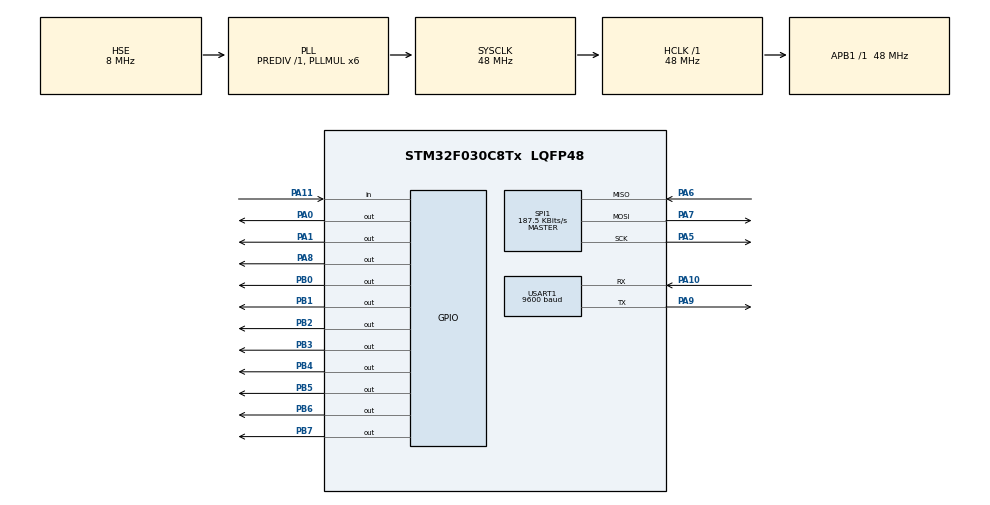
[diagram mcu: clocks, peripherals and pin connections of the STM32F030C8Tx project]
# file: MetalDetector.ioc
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Mcu.Family=STM32F0
Mcu.Name=STM32F030C8Tx
Mcu.Package=LQFP48
NVIC.USART1_IRQn=true\:0\:0\:false\:false\:true
PA0.Signal=GPIO_Output
PA1.Signal=GPIO_Output
PA10.Mode=Asynchronous
PA10.Signal=USART1_RX
PA11.Signal=GPIO_Input
PA5.Mode=Full_Duplex_Master
PA5.Signal=SPI1_SCK
PA6.Mode=Full_Duplex_Master
PA6.Signal=SPI1_MISO
PA7.Mode=Full_Duplex_Master
PA7.Signal=SPI1_MOSI
PA8.Signal=GPIO_Output
PA9.Mode=Asynchronous
PA9.Signal=USART1_TX
PB0.Signal=GPIO_Output
PB1.Signal=GPIO_Output
PB2.Signal=GPIO_Output
PB3.Signal=GPIO_Output
PB4.Signal=GPIO_Output
PB5.Signal=GPIO_Output
PB6.Signal=GPIO_Output
PB7.Signal=GPIO_Output
PF0-OSC_IN.Mode=HSE-External-Oscillator
PF0-OSC_IN.Signal=RCC_OSC_IN
PF1-OSC_OUT.Mode=HSE-External-Oscillator
PF1-OSC_OUT.Signal=RCC_OSC_OUT
ProjectManager.HeapSize=0x200
ProjectManager.StackSize=0x400
ProjectManager.TargetToolchain=SW4STM32
RCC.AHBFreq_Value=48000000
RCC.APB1Freq_Value=48000000
RCC.APB1TimFreq_Value=48000000
RCC.HCLKFreq_Value=48000000
RCC.HSIState=RCC_HSI_ON
RCC.PLLMUL=RCC_PLL_MUL6
RCC.PLLSourceVirtual=RCC_PLLSOURCE_HSE
RCC.SYSCLKFreq_VALUE=48000000
RCC.SYSCLKSource=RCC_SYSCLKSOURCE_PLLCLK
SPI1.BaudRatePrescaler=SPI_BAUDRATEPRESCALER_256
SPI1.CalculateBaudRate=187.5 KBits/s
SPI1.DataSize=SPI_DATASIZE_8BIT
SPI1.Mode=SPI_MODE_MASTER
SPI1.NSSPMode=SPI_NSS_PULSE_ENABLE
USART1.BaudRate=9600
board=MetalDetector

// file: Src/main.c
/**
  ******************************************************************************
  * File Name          : main.c
  * Description        : Main program body
  ******************************************************************************
  *
  * COPYRIGHT(c) 2016 STMicroelectronics
  *
  * Redistribution and use in source and binary forms, with or without modification,
  * are permitted provided that the following conditions are met:
  *   1. Redistributions of source code must retain the above copyright notice,
  *      this list of conditions and the following disclaimer.
  *   2. Redistributions in binary form must reproduce the above copyright notice,
  *      this list of conditions and the following disclaimer in the documentation
  *      and/or other materials provided with the distribution.
  *   3. Neither the name of STMicroelectronics nor the names of its contributors
  *      may be used to endorse or promote products derived from this software
  *      without specific prior written permission.
  *
  * THIS SOFTWARE IS PROVIDED BY THE COPYRIGHT HOLDERS AND CONTRIBUTORS "AS IS"
  * AND ANY EXPRESS OR IMPLIED WARRANTIES, INCLUDING, BUT NOT LIMITED TO, THE
  * IMPLIED WARRANTIES OF MERCHANTABILITY AND FITNESS FOR A PARTICULAR PURPOSE ARE
  * DISCLAIMED. IN NO EVENT SHALL THE COPYRIGHT HOLDER OR CONTRIBUTORS BE LIABLE
  * FOR ANY DIRECT, INDIRECT, INCIDENTAL, SPECIAL, EXEMPLARY, OR CONSEQUENTIAL
  * DAMAGES (INCLUDING, BUT NOT LIMITED TO, PROCUREMENT OF SUBSTITUTE GOODS OR
  * SERVICES; LOSS OF USE, DATA, OR PROFITS; OR BUSINESS INTERRUPTION) HOWEVER
  * CAUSED AND ON ANY THEORY OF LIABILITY, WHETHER IN CONTRACT, STRICT LIABILITY,
  * OR TORT (INCLUDING NEGLIGENCE OR OTHERWISE) ARISING IN ANY WAY OUT OF THE USE
  * OF THIS SOFTWARE, EVEN IF ADVISED OF THE POSSIBILITY OF SUCH DAMAGE.
  *
  ******************************************************************************
  */
#include "stm32f0xx_hal.h"

/* USER CODE BEGIN Includes */
#include "stdio.h"
/* USER CODE END Includes */

SPI_HandleTypeDef hspi1;

UART_HandleTypeDef huart1;

/* USER CODE BEGIN PV */
/* Private variables ---------------------------------------------------------*/

/* USER CODE END PV */

void SystemClock_Config(void);
void Error_Handler(void);
static void MX_GPIO_Init(void);
static void MX_SPI1_Init(void);
static void MX_USART1_UART_Init(void);

/* USER CODE BEGIN PFP */
/* Private function prototypes -----------------------------------------------*/

/* USER CODE END PFP */

int main(void)
{

  /* MCU Configuration----------------------------------------------------------*/

  /* Reset of all peripherals, Initializes the Flash interface and the Systick. */
  HAL_Init();

  /* Configure the system clock */
  SystemClock_Config();

  /* Initialize all configured peripherals */
  MX_GPIO_Init();
  MX_SPI1_Init();
  MX_USART1_UART_Init();

  /* USER CODE BEGIN 2 */
  uint32_t index = 0x2F;
  GPIOB->ODR = index;
  uint8_t address, data, status;
  uint8_t READ = 0x80; //MSB = 1 which is a 'read' bit
  uint8_t result[8]; //used to store the frequency data
  result[0] = 0x53;
  result[7] = 0x45;

  HAL_GPIO_WritePin(GPIOA,GPIO_PIN_8,GPIO_PIN_SET);

  //Set the Strobe bit to high
  HAL_GPIO_WritePin(GPIOA, GPIO_PIN_0, GPIO_PIN_SET);
  //Set the INH bit to low
  HAL_GPIO_WritePin(GPIOA, GPIO_PIN_1, GPIO_PIN_RESET);

  //Start initialization of LDC1000
  //Set power mode to idle to configure stuff
  HAL_GPIO_WritePin(GPIOA,GPIO_PIN_8,GPIO_PIN_RESET);
  address = 0x0B;
  data = 0x00;
  HAL_SPI_Transmit(&hspi1,&address,1,50);
  HAL_SPI_Transmit(&hspi1,&data,1,50);
  HAL_GPIO_WritePin(GPIOA,GPIO_PIN_8,GPIO_PIN_SET);
  HAL_Delay(100);

  //Set RpMax 4.309Kohm
  HAL_GPIO_WritePin(GPIOA,GPIO_PIN_8,GPIO_PIN_RESET);
  address = 0x01;
  data = 0x19;
  HAL_SPI_Transmit(&hspi1,&address,1,50);
  HAL_SPI_Transmit(&hspi1,&data,1,50);
  HAL_GPIO_WritePin(GPIOA,GPIO_PIN_8,GPIO_PIN_SET);
  HAL_Delay(100);

  //Set RpMin 798ohm
  HAL_GPIO_WritePin(GPIOA,GPIO_PIN_8,GPIO_PIN_RESET);
  address = 0x02;
  data = 0x3F;
  HAL_SPI_Transmit(&hspi1,&address,1,50);
  HAL_SPI_Transmit(&hspi1,&data,1,50);
  HAL_GPIO_WritePin(GPIOA,GPIO_PIN_8,GPIO_PIN_SET);
  HAL_Delay(100);

  //Set Watchdog timer frequency to 300k
  HAL_GPIO_WritePin(GPIOA,GPIO_PIN_8,GPIO_PIN_RESET);
  address = 0x03;
  data = 0xA4;
  HAL_SPI_Transmit(&hspi1,&address,1,50);
  HAL_SPI_Transmit(&hspi1,&data,1,50);
  HAL_GPIO_WritePin(GPIOA,GPIO_PIN_8,GPIO_PIN_SET);
  HAL_Delay(100);

  //Set LDC configuration amplitude 4vpp
  HAL_GPIO_WritePin(GPIOA,GPIO_PIN_8,GPIO_PIN_RESET);
  address = 0x04;
  data = 0x17;
  HAL_SPI_Transmit(&hspi1,&address,1,50);
  HAL_SPI_Transmit(&hspi1,&data,1,50);
  HAL_GPIO_WritePin(GPIOA,GPIO_PIN_8,GPIO_PIN_SET);
  HAL_Delay(100);

  //Set clock input type as crystal
  HAL_GPIO_WritePin(GPIOA,GPIO_PIN_8,GPIO_PIN_RESET);
  address = 0x05;
  data = 0x02;
  HAL_SPI_Transmit(&hspi1,&address,1,50);
  HAL_SPI_Transmit(&hspi1,&data,1,50);
  HAL_GPIO_WritePin(GPIOA,GPIO_PIN_8,GPIO_PIN_SET);
  HAL_Delay(100);

  //Disable all interrupt modes
  HAL_GPIO_WritePin(GPIOA,GPIO_PIN_8,GPIO_PIN_RESET);
  address = 0x0A;
  data = 0x00;
  HAL_SPI_Transmit(&hspi1,&address,1,50);
  HAL_SPI_Transmit(&hspi1,&data,1,50);
  HAL_GPIO_WritePin(GPIOA,GPIO_PIN_8,GPIO_PIN_SET);
  HAL_Delay(100);

  //Set thresh HiLSB value
  HAL_GPIO_WritePin(GPIOA,GPIO_PIN_8,GPIO_PIN_RESET);
  address = 0x06;
  data = 0x50;
  HAL_SPI_Transmit(&hspi1,&address,1,50);
  HAL_SPI_Transmit(&hspi1,&data,1,50);
  HAL_GPIO_WritePin(GPIOA,GPIO_PIN_8,GPIO_PIN_SET);
  HAL_Delay(100);

  //Set thresh HiMSB value
  HAL_GPIO_WritePin(GPIOA,GPIO_PIN_8,GPIO_PIN_RESET);
  address = 0x07;
  data = 0x14;
  HAL_SPI_Transmit(&hspi1,&address,1,50);
  HAL_SPI_Transmit(&hspi1,&data,1,50);
  HAL_GPIO_WritePin(GPIOA,GPIO_PIN_8,GPIO_PIN_SET);
  HAL_Delay(100);

  //Set thresh LoLSB value
  HAL_GPIO_WritePin(GPIOA,GPIO_PIN_8,GPIO_PIN_RESET);
  address = 0x08;
  data = 0xC0;
  HAL_SPI_Transmit(&hspi1,&address,1,50);
  HAL_SPI_Transmit(&hspi1,&data,1,50);
  HAL_GPIO_WritePin(GPIOA,GPIO_PIN_8,GPIO_PIN_SET);
  HAL_Delay(100);

  //Set thresh LoMSB value
  HAL_GPIO_WritePin(GPIOA,GPIO_PIN_8,GPIO_PIN_RESET);
  address = 0x09;
  data = 0x12;
  HAL_SPI_Transmit(&hspi1,&address,1,50);
  HAL_SPI_Transmit(&hspi1,&data,1,50);
  HAL_GPIO_WritePin(GPIOA,GPIO_PIN_8,GPIO_PIN_SET);
  HAL_Delay(100);

  //Set power mode to active mode
  HAL_GPIO_WritePin(GPIOA,GPIO_PIN_8,GPIO_PIN_RESET);
  address = 0x0B;
  data = 0x01;
  HAL_SPI_Transmit(&hspi1,&address,1,50);
  HAL_SPI_Transmit(&hspi1,&data,1,50);
  HAL_GPIO_WritePin(GPIOA,GPIO_PIN_8,GPIO_PIN_SET);
  HAL_Delay(100);
  //End of initialization

  /* USER CODE END 2 */

  /* Infinite loop */
  while (1)
  {

  /* USER CODE BEGIN 3 */

  //Read the status register

  HAL_GPIO_WritePin(GPIOA,GPIO_PIN_8,GPIO_PIN_RESET);
  address = 0x20 + READ;
  HAL_SPI_Transmit(&hspi1,&address,1,50);
  HAL_SPI_Receive(&hspi1,&result[1],1,50);
  HAL_GPIO_WritePin(GPIOA,GPIO_PIN_8,GPIO_PIN_SET);
  HAL_Delay(100);

  HAL_GPIO_WritePin(GPIOA,GPIO_PIN_8,GPIO_PIN_RESET);
  address = 0x21 + READ;
  HAL_SPI_Transmit(&hspi1,&address,1,50);
  HAL_SPI_Receive(&hspi1,&result[3],1,50);
  HAL_GPIO_WritePin(GPIOA,GPIO_PIN_8,GPIO_PIN_SET);
  HAL_Delay(100);

  HAL_GPIO_WritePin(GPIOA,GPIO_PIN_8,GPIO_PIN_RESET);
  address = 0x22 + READ;
  HAL_SPI_Transmit(&hspi1,&address,1,50);
  HAL_SPI_Receive(&hspi1,&result[2],1,50);
  HAL_GPIO_WritePin(GPIOA,GPIO_PIN_8,GPIO_PIN_SET);
  HAL_Delay(100);

  HAL_GPIO_WritePin(GPIOA,GPIO_PIN_8,GPIO_PIN_RESET);
  address = 0x23 + READ;
  HAL_SPI_Transmit(&hspi1,&address,1,50);
  HAL_SPI_Receive(&hspi1,&result[6],1,50);
  HAL_GPIO_WritePin(GPIOA,GPIO_PIN_8,GPIO_PIN_SET);
  HAL_Delay(100);

  HAL_GPIO_WritePin(GPIOA,GPIO_PIN_8,GPIO_PIN_RESET);
  address = 0x24 + READ;
  HAL_SPI_Transmit(&hspi1,&address,1,50);
  HAL_SPI_Receive(&hspi1,&result[5],1,50);
  HAL_GPIO_WritePin(GPIOA,GPIO_PIN_8,GPIO_PIN_SET);
  HAL_Delay(100);

  HAL_GPIO_WritePin(GPIOA,GPIO_PIN_8,GPIO_PIN_RESET);
  address = 0x25 + READ;
  HAL_SPI_Transmit(&hspi1,&address,1,50);
  HAL_SPI_Receive(&hspi1,&result[4],1,50);
  HAL_GPIO_WritePin(GPIOA,GPIO_PIN_8,GPIO_PIN_SET);
  HAL_Delay(100);

  HAL_UART_Transmit(&huart1,result,8,1000);
  HAL_Delay(100);
/*

  //Read proximity data MSB register
  HAL_GPIO_WritePin(GPIOA,GPIO_PIN_8,GPIO_PIN_RESET);
  address = 0x22 + READ;
  HAL_SPI_Transmit(&hspi1,&address,1,50);
  HAL_SPI_Receive(&hspi1,&dataMSB,1,50);
  HAL_GPIO_WritePin(GPIOA,GPIO_PIN_8,GPIO_PIN_SET);
  HAL_Delay(100);

*/

  }
  /* USER CODE END 3 */

}

/** System Clock Configuration
*/
void SystemClock_Config(void)
{

  RCC_OscInitTypeDef RCC_OscInitStruct;
  RCC_ClkInitTypeDef RCC_ClkInitStruct;
  RCC_PeriphCLKInitTypeDef PeriphClkInit;

  RCC_OscInitStruct.OscillatorType = RCC_OSCILLATORTYPE_HSE;
  RCC_OscInitStruct.HSEState = RCC_HSE_ON;
  RCC_OscInitStruct.PLL.PLLState = RCC_PLL_ON;
  RCC_OscInitStruct.PLL.PLLSource = RCC_PLLSOURCE_HSE;
  RCC_OscInitStruct.PLL.PLLMUL = RCC_PLL_MUL6;
  RCC_OscInitStruct.PLL.PREDIV = RCC_PREDIV_DIV1;
  if (HAL_RCC_OscConfig(&RCC_OscInitStruct) != HAL_OK)
  {
    Error_Handler();
  }

  RCC_ClkInitStruct.ClockType = RCC_CLOCKTYPE_HCLK|RCC_CLOCKTYPE_SYSCLK
                              |RCC_CLOCKTYPE_PCLK1;
  RCC_ClkInitStruct.SYSCLKSource = RCC_SYSCLKSOURCE_PLLCLK;
  RCC_ClkInitStruct.AHBCLKDivider = RCC_SYSCLK_DIV1;
  RCC_ClkInitStruct.APB1CLKDivider = RCC_HCLK_DIV1;
  if (HAL_RCC_ClockConfig(&RCC_ClkInitStruct, FLASH_LATENCY_1) != HAL_OK)
  {
    Error_Handler();
  }

  PeriphClkInit.PeriphClockSelection = RCC_PERIPHCLK_USART1;
  PeriphClkInit.Usart1ClockSelection = RCC_USART1CLKSOURCE_PCLK1;
  if (HAL_RCCEx_PeriphCLKConfig(&PeriphClkInit) != HAL_OK)
  {
    Error_Handler();
  }

  HAL_SYSTICK_Config(HAL_RCC_GetHCLKFreq()/1000);

  HAL_SYSTICK_CLKSourceConfig(SYSTICK_CLKSOURCE_HCLK);

  /* SysTick_IRQn interrupt configuration */
  HAL_NVIC_SetPriority(SysTick_IRQn, 0, 0);
}

/* SPI1 init function */
static void MX_SPI1_Init(void)
{

  hspi1.Instance = SPI1;
  hspi1.Init.Mode = SPI_MODE_MASTER;
  hspi1.Init.Direction = SPI_DIRECTION_2LINES;
  hspi1.Init.DataSize = SPI_DATASIZE_8BIT;
  hspi1.Init.CLKPolarity = SPI_POLARITY_LOW;
  hspi1.Init.CLKPhase = SPI_PHASE_1EDGE;
  hspi1.Init.NSS = SPI_NSS_SOFT;
  hspi1.Init.BaudRatePrescaler = SPI_BAUDRATEPRESCALER_256;
  hspi1.Init.FirstBit = SPI_FIRSTBIT_MSB;
  hspi1.Init.TIMode = SPI_TIMODE_DISABLE;
  hspi1.Init.CRCCalculation = SPI_CRCCALCULATION_DISABLE;
  hspi1.Init.CRCPolynomial = 7;
  hspi1.Init.CRCLength = SPI_CRC_LENGTH_DATASIZE;
  hspi1.Init.NSSPMode = SPI_NSS_PULSE_ENABLE;
  if (HAL_SPI_Init(&hspi1) != HAL_OK)
  {
    Error_Handler();
  }

}

/* USART1 init function */
static void MX_USART1_UART_Init(void)
{

  huart1.Instance = USART1;
  huart1.Init.BaudRate = 9600;
  huart1.Init.WordLength = UART_WORDLENGTH_8B;
  huart1.Init.StopBits = UART_STOPBITS_1;
  huart1.Init.Parity = UART_PARITY_NONE;
  huart1.Init.Mode = UART_MODE_TX_RX;
  huart1.Init.HwFlowCtl = UART_HWCONTROL_NONE;
  huart1.Init.OverSampling = UART_OVERSAMPLING_16;
  huart1.Init.OneBitSampling = UART_ONE_BIT_SAMPLE_DISABLE;
  huart1.AdvancedInit.AdvFeatureInit = UART_ADVFEATURE_NO_INIT;
  if (HAL_UART_Init(&huart1) != HAL_OK)
  {
    Error_Handler();
  }

}

/** Configure pins as
        * Analog
        * Input
        * Output
        * EVENT_OUT
        * EXTI
*/
static void MX_GPIO_Init(void)
{

  GPIO_InitTypeDef GPIO_InitStruct;

  /* GPIO Ports Clock Enable */
  __HAL_RCC_GPIOF_CLK_ENABLE();
  __HAL_RCC_GPIOA_CLK_ENABLE();
  __HAL_RCC_GPIOB_CLK_ENABLE();

  /*Configure GPIO pin Output Level */
  HAL_GPIO_WritePin(GPIOA, GPIO_PIN_0|GPIO_PIN_1|GPIO_PIN_8, GPIO_PIN_RESET);

  /*Configure GPIO pin Output Level */
  HAL_GPIO_WritePin(GPIOB, GPIO_PIN_0|GPIO_PIN_1|GPIO_PIN_2|GPIO_PIN_3
                          |GPIO_PIN_4|GPIO_PIN_5|GPIO_PIN_6|GPIO_PIN_7, GPIO_PIN_RESET);

  /*Configure GPIO pins : PA0 PA1 PA8 */
  GPIO_InitStruct.Pin = GPIO_PIN_0|GPIO_PIN_1|GPIO_PIN_8;
  GPIO_InitStruct.Mode = GPIO_MODE_OUTPUT_PP;
  GPIO_InitStruct.Pull = GPIO_NOPULL;
  GPIO_InitStruct.Speed = GPIO_SPEED_FREQ_LOW;
  HAL_GPIO_Init(GPIOA, &GPIO_InitStruct);

  /*Configure GPIO pins : PB0 PB1 PB2 PB3
                           PB4 PB5 PB6 PB7 */
  GPIO_InitStruct.Pin = GPIO_PIN_0|GPIO_PIN_1|GPIO_PIN_2|GPIO_PIN_3
                          |GPIO_PIN_4|GPIO_PIN_5|GPIO_PIN_6|GPIO_PIN_7;
  GPIO_InitStruct.Mode = GPIO_MODE_OUTPUT_PP;
  GPIO_InitStruct.Pull = GPIO_NOPULL;
  GPIO_InitStruct.Speed = GPIO_SPEED_FREQ_LOW;
  HAL_GPIO_Init(GPIOB, &GPIO_InitStruct);

  /*Configure GPIO pin : PA11 */
  GPIO_InitStruct.Pin = GPIO_PIN_11;
  GPIO_InitStruct.Mode = GPIO_MODE_INPUT;
  GPIO_InitStruct.Pull = GPIO_NOPULL;
  HAL_GPIO_Init(GPIOA, &GPIO_InitStruct);

}

void Error_Handler(void)
{
  while(1)
  {
  }
}

/************************ (C) COPYRIGHT STMicroelectronics *****END OF FILE****/
